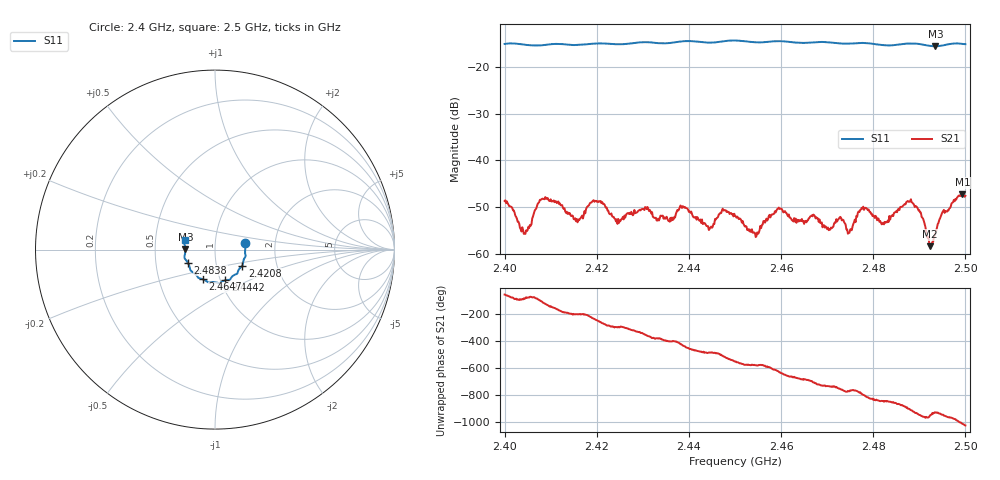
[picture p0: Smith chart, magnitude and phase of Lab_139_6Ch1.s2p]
# Hz S RI R 50
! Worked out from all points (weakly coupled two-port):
!   601 points, 2.4 GHz to 2.5 GHz, reference 50 ohm
!   highest |S21| = -47.24 dB at 2.4993 GHz (marker M1); lowest = -58.3 dB at 2.4923 GHz (marker M2)
!   lowest |S11| = -15.7 dB at 2.4935 GHz (marker M3), VSWR 1.39, Z = 35.9 + j0.138 ohm
!   |S11| at or under -10 dB: start of sweep to end of sweep
!   S12 and S22 are empty: the file has one direction only
!   S11 on the Smith chart (normalised r, x): 2.4 GHz: 1.40, +0.11; 2.4208 GHz: 1.33, -0.25; 2.4442 GHz: 1.05, -0.37; 2.4647 GHz: 0.83, -0.28; 2.4838 GHz: 0.73, -0.11; 2.5 GHz: 0.71, +0.08
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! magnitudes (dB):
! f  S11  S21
! 2.4 GHz  -15.2  -48.6
! 2.4045 GHz  -15.4  -55.7
! 2.4083 GHz  -15.4  -48.2
! 2.4167 GHz  -15.3  -52.0
! 2.4208 GHz  -15.1  -48.6
! 2.4247 GHz  -15.2  -52.5
! 2.4333 GHz  -15.0  -52.4
! 2.4387 GHz  -14.6  -49.7
! 2.4442 GHz  -14.9  -54.0
! 2.45 GHz  -14.4  -51.8
! 2.4545 GHz  -14.8  -56.3
! 2.4595 GHz  -14.6  -50.1
! 2.4647 GHz  -15.0  -53.0
! 2.4667 GHz  -14.9  -51.7
! 2.4748 GHz  -15.1  -55.4
! 2.4833 GHz  -15.5  -53.1
! 2.4838 GHz  -15.5  -51.9
! 2.4883 GHz  -15.1  -48.9
! 2.4923 GHz  -15.6  -58.3
! 2.4935 GHz  -15.7  -55.6
! 2.4993 GHz  -15.2  -47.2
! 2.5 GHz  -15.2  -47.5
